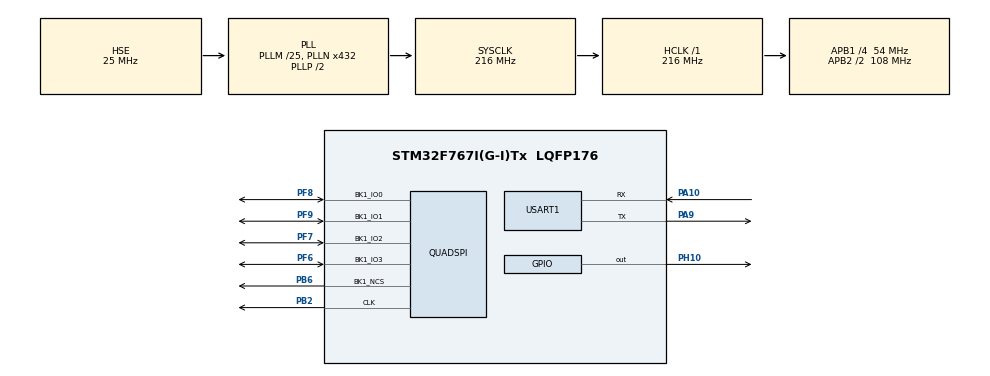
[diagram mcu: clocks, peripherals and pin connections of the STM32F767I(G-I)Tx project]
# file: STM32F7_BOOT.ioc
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CORTEX_M7.ART_ACCELERATOR_ENABLE=1
CORTEX_M7.default_mode_Activation=0
Mcu.Family=STM32F7
Mcu.Name=STM32F767I(G-I)Tx
Mcu.Package=LQFP176
NVIC.PriorityGroup=NVIC_PRIORITYGROUP_4
NVIC.USART1_IRQn=true\:0\:0\:false\:false\:true\:true\:true\:true
PA10.Mode=Asynchronous
PA10.Signal=USART1_RX
PA13.Mode=Serial_Wire
PA13.Signal=SYS_JTMS-SWDIO
PA14.Mode=Serial_Wire
PA14.Signal=SYS_JTCK-SWCLK
PA9.Mode=Asynchronous
PA9.Signal=USART1_TX
PB2.Mode=Single Bank 1
PB2.Signal=QUADSPI_CLK
PB6.Mode=Single Bank 1
PB6.Signal=QUADSPI_BK1_NCS
PF6.Mode=Single Bank 1
PF6.Signal=QUADSPI_BK1_IO3
PF7.Mode=Single Bank 1
PF7.Signal=QUADSPI_BK1_IO2
PF8.Mode=Single Bank 1
PF8.Signal=QUADSPI_BK1_IO0
PF9.Mode=Single Bank 1
PF9.Signal=QUADSPI_BK1_IO1
PH0/OSC_IN.Mode=HSE-External-Oscillator
PH0/OSC_IN.Signal=RCC_OSC_IN
PH1/OSC_OUT.Mode=HSE-External-Oscillator
PH1/OSC_OUT.Signal=RCC_OSC_OUT
PH10.GPIO_PuPd=GPIO_PULLUP
PH10.GPIO_Speed=GPIO_SPEED_FREQ_VERY_HIGH
PH10.PinState=GPIO_PIN_SET
PH10.Signal=GPIO_Output
ProjectManager.HeapSize=0x200
ProjectManager.StackSize=0x400
ProjectManager.TargetToolchain=MDK-ARM V5.32
QUADSPI.ChipSelectHighTime=QSPI_CS_HIGH_TIME_4_CYCLE
QUADSPI.ClockPrescaler=2
QUADSPI.FifoThreshold=4
QUADSPI.FlashSize=23
QUADSPI.SampleShifting=QSPI_SAMPLE_SHIFTING_HALFCYCLE
RCC.AHBFreq_Value=216000000
RCC.APB1CLKDivider=RCC_HCLK_DIV4
RCC.APB1Freq_Value=54000000
RCC.APB1TimFreq_Value=108000000
RCC.APB2CLKDivider=RCC_HCLK_DIV2
RCC.APB2Freq_Value=108000000
RCC.APB2TimFreq_Value=216000000
RCC.CortexFreq_Value=216000000
RCC.HCLKFreq_Value=216000000
RCC.HSE_VALUE=25000000
RCC.HSI_VALUE=16000000
RCC.LSE_VALUE=32768
RCC.PLLM=25
RCC.PLLN=432
RCC.PLLSAIN=352
RCC.PLLSourceVirtual=RCC_PLLSOURCE_HSE
RCC.SYSCLKFreq_VALUE=216000000
RCC.SYSCLKSource=RCC_SYSCLKSOURCE_PLLCLK
RCC.USBFreq_Value=216000000
RCC.VCOOutputFreq_Value=432000000
USART1.VirtualMode-Asynchronous=VM_ASYNC
board=custom

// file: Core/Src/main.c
/* USER CODE BEGIN Header */
/**
  ******************************************************************************
  * @file           : main.c
  * @brief          : Main program body
  ******************************************************************************
  * @attention
  *
  * Copyright (c) 2025 STMicroelectronics.
  * All rights reserved.
  *
  * This software is licensed under terms that can be found in the LICENSE file
  * in the root directory of this software component.
  * If no LICENSE file comes with this software, it is provided AS-IS.
  *
  ******************************************************************************
  */
/* USER CODE END Header */
#include "main.h"
#include "quadspi.h"
#include "usart.h"
#include "gpio.h"

/* USER CODE BEGIN Includes */
#include "stdio.h"
#include "check_agent_engine.h"
#include "micro_shell.h"
#include "ymodem_ota.h"
/* USER CODE END Includes */

/* USER CODE BEGIN PTD */
#include "SEGGER_RTT.h"
#include "chry_sflash_norflash.h"
/* USER CODE END PTD */

void SystemClock_Config(void);

/* USER CODE BEGIN 0 */
__attribute__((aligned(32)))
uint8_t s_chBuffer[2048 + 128] ;
static byte_queue_t                  s_tCheckUsePeekQueue;
static fsm(check_use_peek)           s_fsmCheckUsePeek;
static ymodem_ota_recive_t           s_tYmodemOtaReceive;
static check_shell_t                 s_tShellObj;
static struct chry_sflash_norflash   flash;
static struct chry_sflash_host spi_host;
int reboot(void)
{
    SCB->AIRCR = 0X05FA0000 | (uint32_t)0x04;
    return 0;
}
MSH_CMD_EXPORT(reboot, reboot)

int64_t get_system_time_ms(void)
{
    return HAL_GetTick();
}

uint16_t shell_read_data(wl_shell_t *ptObj, char *pchBuffer, uint16_t hwSize)
{
    //peek_byte_t *ptReadByte = get_read_byte_interface(&s_fsmCheckUsePeek);
    //return ptReadByte->fnGetByte(ptReadByte, (uint8_t *)pchBuffer, hwSize);
	return SEGGER_RTT_Read(0,(uint8_t *)pchBuffer, hwSize);
}

uint16_t shell_write_data(wl_shell_t *ptObj, const char *pchBuffer, uint16_t hwSize)
{
	//return HAL_UART_Transmit(&huart1, (uint8_t *)pchBuffer, hwSize, 100);
	return SEGGER_RTT_Write(0, pchBuffer,hwSize);
}

#define TRANSFER_SIZE (1024U)
uint8_t wbuff[TRANSFER_SIZE];
uint8_t rbuff[TRANSFER_SIZE];
__attribute__((aligned(32)))
__USED const unsigned char a2 [] __attribute__ ((section("ExtFlashSection")))=
{
    0x00, 0x11, 0x33, 0x44, 0x55, 0x66, 0x77, 0x00, 0x99, 0x22, 0x11, 0x33, 0x44, 0x55, 0x66, 0x77, 0x13, 0x99, 0x00, 0xff, 0xff, 0x04, 0x00, 0xff, 0x00, 0x00, 0x00, 0xff, 0x00, 0x00, 0x00, 0xff, 0x00, 0x00, 0x00, 0xff, 0x00, 0x00, 0x00, 0xff, 0x00, 0x00, 0x00, 0xff, 0x00, 0x00, 0x00, 0xff, 0x00, 0x00, 0x00, 0xff, 0x00, 0x00, 0x00, 0xff, 0x00, 0x00, 0x00, 0xff,
};

/* USER CODE END 0 */

int main(void)
{

  /* USER CODE BEGIN 1 */
    uint64_t elapsed = 0, now;
    double write_speed, read_speed;
  /* USER CODE END 1 */

  /* MCU Configuration--------------------------------------------------------*/

  /* Reset of all peripherals, Initializes the Flash interface and the Systick. */
  HAL_Init();

  /* Configure the system clock */
  SystemClock_Config();

  /* USER CODE BEGIN SysInit */
  int ret;
  /* USER CODE END SysInit */

  /* Initialize all configured peripherals */
  MX_GPIO_Init();
  MX_USART1_UART_Init();
  MX_QUADSPI_Init();
  /* USER CODE BEGIN 2 */
    //SEGGER_RTT_Init();
    queue_init(&s_tCheckUsePeekQueue, s_chBuffer, sizeof(s_chBuffer));
    init_fsm(check_use_peek, &s_fsmCheckUsePeek, args(&s_tCheckUsePeekQueue));
    shell_ops_t s_tOps = {
        .fnReadData = shell_read_data,
		.fnWriteData = shell_write_data,
    };
    shell_init(&s_tShellObj,&s_tOps);
	agent_register(&s_fsmCheckUsePeek, &s_tShellObj.tCheckAgent);

    ymodem_ota_receive_init(&s_tYmodemOtaReceive, get_read_byte_interface(&s_fsmCheckUsePeek));
    agent_register(&s_fsmCheckUsePeek, &s_tYmodemOtaReceive.tCheckAgent);

    connect(&tUartMsgObj, SIGNAL(uart_sig), &s_tCheckUsePeekQueue, SLOT(enqueue_bytes));
    connect(&s_tYmodemOtaReceive.tYmodemReceive, SIGNAL(ymodem_rec_sig), &huart1, SLOT(uart_sent_data));

    spi_host.spi_idx = 0;
    spi_host.iomode = CHRY_SFLASH_IOMODE_QUAD;
	chry_sflash_init(&spi_host);
    chry_sflash_norflash_init(&flash, &spi_host);
    ret = chry_sflash_norflash_erase(&flash, 0, TRANSFER_SIZE);
    memset(rbuff, 0, sizeof(rbuff));
    for (uint32_t i = 0; i < sizeof(wbuff); i++) {
        wbuff[i] = i % 0xFF;
    }
	now = get_system_time_ms();
	ret = chry_sflash_norflash_write(&flash, 0, wbuff, TRANSFER_SIZE);
    elapsed = (get_system_time_ms() - now);
	write_speed = (double)TRANSFER_SIZE / elapsed;
	now = get_system_time_ms();
    ret = chry_sflash_norflash_read(&flash, 0, rbuff, TRANSFER_SIZE);
    elapsed = (get_system_time_ms() - now);
    read_speed = (double)TRANSFER_SIZE / elapsed;
	for(uint8_t i = 0; i< 8;i++){
		printf ("rbuff[%d] = 0x%x  ",i,rbuff[i]);
	}
    printf("\r\nwrite_speed:%.2f KB/s, read_speed:%.2f KB/s\n", write_speed, read_speed);
  /* USER CODE END 2 */

  /* Infinite loop */
  while (1)
  {

    /* USER CODE BEGIN 3 */
    call_fsm( check_use_peek,  &s_fsmCheckUsePeek );
  }
  /* USER CODE END 3 */
}

void SystemClock_Config(void)
{
  RCC_OscInitTypeDef RCC_OscInitStruct = {0};
  RCC_ClkInitTypeDef RCC_ClkInitStruct = {0};

  /** Configure the main internal regulator output voltage
  */
  __HAL_RCC_PWR_CLK_ENABLE();
  __HAL_PWR_VOLTAGESCALING_CONFIG(PWR_REGULATOR_VOLTAGE_SCALE1);

  /** Initializes the RCC Oscillators according to the specified parameters
  * in the RCC_OscInitTypeDef structure.
  */
  RCC_OscInitStruct.OscillatorType = RCC_OSCILLATORTYPE_HSE;
  RCC_OscInitStruct.HSEState = RCC_HSE_ON;
  RCC_OscInitStruct.PLL.PLLState = RCC_PLL_ON;
  RCC_OscInitStruct.PLL.PLLSource = RCC_PLLSOURCE_HSE;
  RCC_OscInitStruct.PLL.PLLM = 25;
  RCC_OscInitStruct.PLL.PLLN = 432;
  RCC_OscInitStruct.PLL.PLLP = RCC_PLLP_DIV2;
  RCC_OscInitStruct.PLL.PLLQ = 2;
  RCC_OscInitStruct.PLL.PLLR = 2;
  if (HAL_RCC_OscConfig(&RCC_OscInitStruct) != HAL_OK)
  {
    Error_Handler();
  }

  /** Activate the Over-Drive mode
  */
  if (HAL_PWREx_EnableOverDrive() != HAL_OK)
  {
    Error_Handler();
  }

  /** Initializes the CPU, AHB and APB buses clocks
  */
  RCC_ClkInitStruct.ClockType = RCC_CLOCKTYPE_HCLK|RCC_CLOCKTYPE_SYSCLK
                              |RCC_CLOCKTYPE_PCLK1|RCC_CLOCKTYPE_PCLK2;
  RCC_ClkInitStruct.SYSCLKSource = RCC_SYSCLKSOURCE_PLLCLK;
  RCC_ClkInitStruct.AHBCLKDivider = RCC_SYSCLK_DIV1;
  RCC_ClkInitStruct.APB1CLKDivider = RCC_HCLK_DIV4;
  RCC_ClkInitStruct.APB2CLKDivider = RCC_HCLK_DIV2;

  if (HAL_RCC_ClockConfig(&RCC_ClkInitStruct, FLASH_LATENCY_7) != HAL_OK)
  {
    Error_Handler();
  }
}

/* USER CODE BEGIN 4 */
int stdout_putchar(int ch)
{
   // HAL_UART_Transmit(&huart1, (uint8_t *)&ch, 1, 100);
	SEGGER_RTT_PutChar(0, (char)ch);
    return ch;
}
/* USER CODE END 4 */

void Error_Handler(void)
{
  __disable_irq();
  while (1)
  {
  }
}
